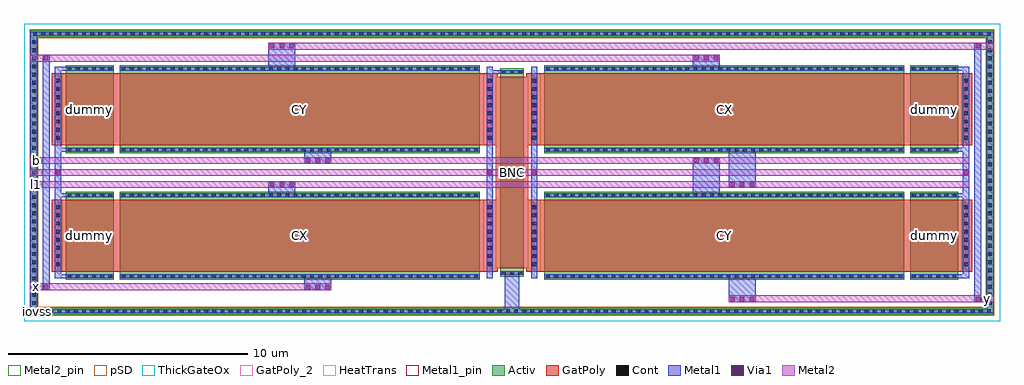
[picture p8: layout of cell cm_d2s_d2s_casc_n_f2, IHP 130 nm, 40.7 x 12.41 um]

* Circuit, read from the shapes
.subckt cm_d2s_d2s_casc_n_f2 b iovss l1 vbnc x y
XM1 vbnc vbnc vbnc iovss sg13_hv_nmos w=2u l=3u m=4
XM2 l1 vbnc x iovss sg13_hv_nmos w=15u l=3u m=2
XM3 y vbnc b iovss sg13_hv_nmos w=15u l=3u m=2
XM4 vbnc vbnc iovss iovss sg13_hv_nmos w=1u l=8u
.ends

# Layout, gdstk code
from math import pi, radians
import gdstk
lib = gdstk.Library(unit=1e-6, precision=1e-09)
def R(c, l, rs):  # rectangles x0, y0, x1, y1
    for r in rs: c.add(gdstk.rectangle(r[:2], r[2:], *l))
def A(c, l, x, y, w, h, nx, ny, dx, dy):  # array of equal rectangles
    R(c, l, [(x+i*dx, y+j*dy, x+i*dx+w, y+j*dy+h) for i in range(nx) for j in range(ny)])
Activ = (1, 0)
GatPoly = (5, 0)
GatPoly_2 = (5, 2)
Cont = (6, 0)
Metal1 = (8, 0)
Metal1_pin = (8, 2)
Metal2 = (10, 0)
Metal2_pin = (10, 2)
pSD = (14, 0)
Via1 = (19, 0)
ThickGateOx = (44, 0)
HeatTrans = (51, 0)

cm_d2s_nmoshv_6 = lib.new_cell('cm_d2s_nmosHV_6')
R(cm_d2s_nmoshv_6, Activ, [(0,0,0.3,0.3), (0,0,8.68,1), (8.38,0,8.68,0.3)])
R(cm_d2s_nmoshv_6, GatPoly, [(0.34,-0.18,8.34,1.18)])
R(cm_d2s_nmoshv_6, GatPoly_2, [(0.34,-0.18,8.34,1.18)])
A(cm_d2s_nmoshv_6, Cont, 0.07, 0.07, 0.16, 0.16, 1, 3, 0, 0.35)
A(cm_d2s_nmoshv_6, Cont, 8.45, 0.07, 0.16, 0.16, 1, 3, 0, 0.35)
R(cm_d2s_nmoshv_6, Metal1, [(0.07,0,0.23,1), (8.45,0,8.61,1)])
R(cm_d2s_nmoshv_6, Metal1_pin, [(0.07,0,0.23,1), (8.45,0,8.61,1)])
R(cm_d2s_nmoshv_6, ThickGateOx, [(-0.27,-0.52,8.95,1.52)])
R(cm_d2s_nmoshv_6, HeatTrans, [(0.34,-0.18,8.34,1.18)])
cm_d2s_nmoshv_6.add(gdstk.Label('nmosHV', (4.34,0.5), layer=63, texttype=0))
cm_d2s_nmoshv_6.add(gdstk.Label('nmosHV', (4.34,0.5), layer=51, texttype=0))

cm_d2s_nmoshv_5 = lib.new_cell('cm_d2s_nmosHV_5')
R(cm_d2s_nmoshv_5, Activ, [(0,0,0.3,0.3), (0,0,3.68,15), (3.38,0,3.68,0.3)])
R(cm_d2s_nmoshv_5, GatPoly, [(0.34,-0.18,3.34,15.18)])
R(cm_d2s_nmoshv_5, GatPoly_2, [(0.34,-0.18,3.34,15.18)])
A(cm_d2s_nmoshv_5, Cont, 0.07, 0.07, 0.16, 0.16, 1, 3, 0, 0.34)
A(cm_d2s_nmoshv_5, Cont, 3.45, 0.07, 0.16, 0.16, 1, 3, 0, 0.34)
A(cm_d2s_nmoshv_5, Cont, 0.07, 1.095, 0.16, 0.16, 1, 3, 0, 0.34)
A(cm_d2s_nmoshv_5, Cont, 3.45, 1.095, 0.16, 0.16, 1, 3, 0, 0.34)
A(cm_d2s_nmoshv_5, Cont, 0.07, 2.12, 0.16, 0.16, 1, 3, 0, 0.34)
A(cm_d2s_nmoshv_5, Cont, 3.45, 2.12, 0.16, 0.16, 1, 3, 0, 0.34)
A(cm_d2s_nmoshv_5, Cont, 0.07, 3.83, 0.16, 0.16, 1, 3, 0, 0.34)
A(cm_d2s_nmoshv_5, Cont, 3.45, 3.83, 0.16, 0.16, 1, 3, 0, 0.34)
A(cm_d2s_nmoshv_5, Cont, 0.07, 4.855, 0.16, 0.16, 1, 3, 0, 0.34)
A(cm_d2s_nmoshv_5, Cont, 3.45, 4.855, 0.16, 0.16, 1, 3, 0, 0.34)
A(cm_d2s_nmoshv_5, Cont, 0.07, 6.565, 0.16, 0.16, 1, 3, 0, 0.34)
A(cm_d2s_nmoshv_5, Cont, 3.45, 6.565, 0.16, 0.16, 1, 3, 0, 0.34)
A(cm_d2s_nmoshv_5, Cont, 0.07, 7.59, 0.16, 0.16, 1, 3, 0, 0.34)
A(cm_d2s_nmoshv_5, Cont, 3.45, 7.59, 0.16, 0.16, 1, 3, 0, 0.34)
A(cm_d2s_nmoshv_5, Cont, 0.07, 9.3, 0.16, 0.16, 1, 3, 0, 0.34)
A(cm_d2s_nmoshv_5, Cont, 3.45, 9.3, 0.16, 0.16, 1, 3, 0, 0.34)
A(cm_d2s_nmoshv_5, Cont, 0.07, 10.325, 0.16, 0.16, 1, 3, 0, 0.34)
A(cm_d2s_nmoshv_5, Cont, 3.45, 10.325, 0.16, 0.16, 1, 3, 0, 0.34)
A(cm_d2s_nmoshv_5, Cont, 0.07, 12.035, 0.16, 0.16, 1, 3, 0, 0.34)
A(cm_d2s_nmoshv_5, Cont, 3.45, 12.035, 0.16, 0.16, 1, 3, 0, 0.34)
A(cm_d2s_nmoshv_5, Cont, 0.07, 13.06, 0.16, 0.16, 1, 3, 0, 0.34)
A(cm_d2s_nmoshv_5, Cont, 3.45, 13.06, 0.16, 0.16, 1, 3, 0, 0.34)
R(cm_d2s_nmoshv_5, Cont, [(0.07,3.145,0.23,3.305), (3.45,3.145,3.61,3.305), (0.07,3.485,0.23,3.645), (3.45,3.485,3.61,3.645), (0.07,5.88,0.23,6.04), (3.45,5.88,3.61,6.04), (0.07,6.22,0.23,6.38), (3.45,6.22,3.61,6.38), (0.07,8.615,0.23,8.775), (3.45,8.615,3.61,8.775), (0.07,8.955,0.23,9.115), (3.45,8.955,3.61,9.115), (0.07,11.35,0.23,11.51), (3.45,11.35,3.61,11.51), (0.07,11.69,0.23,11.85), (3.45,11.69,3.61,11.85), (0.07,14.085,0.23,14.245), (3.45,14.085,3.61,14.245), (0.07,14.425,0.23,14.585), (3.45,14.425,3.61,14.585), (0.07,14.77,0.23,14.93), (3.45,14.77,3.61,14.93)])
R(cm_d2s_nmoshv_5, Metal1, [(0.07,0,0.23,15), (3.45,0,3.61,15)])
R(cm_d2s_nmoshv_5, Metal1_pin, [(0.07,0,0.23,15), (3.45,0,3.61,15)])
R(cm_d2s_nmoshv_5, ThickGateOx, [(-0.27,-0.52,3.95,15.52)])
R(cm_d2s_nmoshv_5, HeatTrans, [(0.34,-0.18,3.34,15.18)])
cm_d2s_nmoshv_5.add(gdstk.Label('nmosHV', (1.84,7.5), layer=63, texttype=0))
cm_d2s_nmoshv_5.add(gdstk.Label('nmosHV', (1.84,7.5), layer=51, texttype=0))

cm_d2s_nmoshv_4 = lib.new_cell('cm_d2s_nmosHV_4')
R(cm_d2s_nmoshv_4, Activ, [(0,0,0.3,0.3), (0,0,3.68,2), (3.38,0,3.68,0.3)])
R(cm_d2s_nmoshv_4, GatPoly, [(0.34,-0.18,3.34,2.18)])
R(cm_d2s_nmoshv_4, GatPoly_2, [(0.34,-0.18,3.34,2.18)])
A(cm_d2s_nmoshv_4, Cont, 0.07, 0.07, 0.16, 0.16, 1, 6, 0, 0.34)
A(cm_d2s_nmoshv_4, Cont, 3.45, 0.07, 0.16, 0.16, 1, 6, 0, 0.34)
R(cm_d2s_nmoshv_4, Metal1, [(0.07,0,0.23,2), (3.45,0,3.61,2)])
R(cm_d2s_nmoshv_4, Metal1_pin, [(0.07,0,0.23,2), (3.45,0,3.61,2)])
R(cm_d2s_nmoshv_4, ThickGateOx, [(-0.27,-0.52,3.95,2.52)])
R(cm_d2s_nmoshv_4, HeatTrans, [(0.34,-0.18,3.34,2.18)])
cm_d2s_nmoshv_4.add(gdstk.Label('nmosHV', (1.84,1), layer=63, texttype=0))
cm_d2s_nmoshv_4.add(gdstk.Label('nmosHV', (1.84,1), layer=51, texttype=0))

cm_d2s_d2s_casc_n_f2 = lib.new_cell('cm_d2s_d2s_casc_n_f2')
R(cm_d2s_d2s_casc_n_f2, Activ, [(-1.48,-1.46,38.68,-1.16), (-1.48,-1.16,-1.18,10.11), (38.38,-1.16,38.68,10.11), (-1.48,10.11,38.68,10.41)])
R(cm_d2s_d2s_casc_n_f2, GatPoly, [(-0.6,0.34,-0.1,3.34), (17.35,0.34,18,3.34), (19.2,0.34,19.85,3.34), (37.3,0.34,37.8,3.34), (-0.6,5.61,-0.1,8.61), (17.35,5.61,18,8.61), (19.2,5.61,19.85,8.61), (37.3,5.61,37.8,8.61)])
A(cm_d2s_d2s_casc_n_f2, Cont, -1.37, -1.39, 0.16, 0.16, 118, 2, 0.34, 11.57)
A(cm_d2s_d2s_casc_n_f2, Cont, -1.41, -1.045, 0.16, 0.16, 1, 33, 0, 0.34)
A(cm_d2s_d2s_casc_n_f2, Cont, 38.45, -1.045, 0.16, 0.16, 1, 33, 0, 0.34)
A(cm_d2s_d2s_casc_n_f2, Cont, -0.41, 0.57, 0.16, 0.16, 1, 8, 0, 0.34)
A(cm_d2s_d2s_casc_n_f2, Cont, 17.595, 0.57, 0.16, 0.16, 1, 8, 0, 0.34)
A(cm_d2s_d2s_casc_n_f2, Cont, 19.445, 0.57, 0.16, 0.16, 1, 8, 0, 0.34)
A(cm_d2s_d2s_casc_n_f2, Cont, 37.45, 0.57, 0.16, 0.16, 1, 8, 0, 0.34)
A(cm_d2s_d2s_casc_n_f2, Cont, -0.41, 5.84, 0.16, 0.16, 1, 8, 0, 0.34)
A(cm_d2s_d2s_casc_n_f2, Cont, 17.595, 5.84, 0.16, 0.16, 1, 8, 0, 0.34)
A(cm_d2s_d2s_casc_n_f2, Cont, 19.445, 5.84, 0.16, 0.16, 1, 8, 0, 0.34)
A(cm_d2s_d2s_casc_n_f2, Cont, 37.45, 5.84, 0.16, 0.16, 1, 8, 0, 0.34)
R(cm_d2s_d2s_casc_n_f2, Metal1, [(-1.48,-1.39,-1.19,10.34), (-1.42,-1.39,38.62,-1.23), (18.3,-1.39,18.9,0.365), (38.39,-1.39,38.68,10.34), (-1.41,-1.095,-1.25,10.045), (38.45,-1.095,38.61,10.045), (27.645,-0.94,28.755,0.23), (37.88,-0.94,38.17,9.89), (-0.97,-0.44,-0.68,9.39), (9.945,-0.44,11.055,0.23), (-0.46,0.07,-0.2,8.88), (-0.33,0.07,0.1,0.23), (17.545,0.07,17.805,8.88), (19.395,0.07,19.655,8.88), (37.1,0.07,37.53,0.23), (37.4,0.07,37.66,8.88), (-0.33,3.45,0.1,3.61), (8.445,3.45,9.555,4.12), (26.145,3.45,27.255,5.12), (37.1,3.45,37.53,3.61), (27.645,3.83,28.755,5.5), (9.945,4.83,11.055,5.5), (-0.33,5.34,0.1,5.5), (37.1,5.34,37.53,5.5), (17.675,8.585,18.2,8.745), (-0.33,8.72,0.1,8.88), (8.445,8.72,9.555,9.89), (26.145,8.72,27.255,9.39), (37.1,8.72,37.53,8.88), (-1.42,10.18,38.62,10.34)])
R(cm_d2s_d2s_casc_n_f2, Metal1_pin, [(-1.42,-1.39,-0.92,-1.23)])
A(cm_d2s_d2s_casc_n_f2, Metal2, -1.48, 3.83, 39.155, 0.29, 1, 3, 0, 0.5)
R(cm_d2s_d2s_casc_n_f2, Metal2, [(27.645,-0.94,38.68,-0.65), (-1.48,-0.44,11.055,-0.15), (-1.48,9.1,27.255,9.39), (8.445,9.6,38.68,9.89)])
A(cm_d2s_d2s_casc_n_f2, Metal2_pin, -1.48, 3.83, 0.5, 0.29, 1, 3, 0, 0.5)
R(cm_d2s_d2s_casc_n_f2, Metal2_pin, [(38.18,-0.94,38.68,-0.65), (-1.48,-0.44,-0.98,-0.15)])
R(cm_d2s_d2s_casc_n_f2, pSD, [(-1.51,-1.49,38.71,-1.13), (-1.51,-1.19,-1.15,10.14), (38.35,-1.19,38.71,10.14), (-1.51,10.08,38.71,10.44)])
A(cm_d2s_d2s_casc_n_f2, Via1, 27.695, -0.89, 0.19, 0.19, 3, 2, 0.41, 4.77)
A(cm_d2s_d2s_casc_n_f2, Via1, 9.995, -0.39, 0.19, 0.19, 3, 2, 0.41, 5.27)
A(cm_d2s_d2s_casc_n_f2, Via1, 8.495, 3.88, 0.19, 0.19, 3, 2, 0.41, 5.77)
A(cm_d2s_d2s_casc_n_f2, Via1, 26.195, 4.88, 0.19, 0.19, 3, 2, 0.41, 4.27)
R(cm_d2s_d2s_casc_n_f2, Via1, [(37.93,-0.89,38.12,-0.7), (-0.92,-0.39,-0.73,-0.2), (-0.425,4.38,-0.235,4.57), (17.58,4.38,17.77,4.57), (19.43,4.38,19.62,4.57), (37.435,4.38,37.625,4.57), (-0.92,9.15,-0.73,9.34), (37.93,9.65,38.12,9.84)])
R(cm_d2s_d2s_casc_n_f2, ThickGateOx, [(-1.75,-1.73,38.95,10.68)])
cm_d2s_d2s_casc_n_f2.add(gdstk.Reference(cm_d2s_nmoshv_6, (18.1,8.815), rotation=3*pi/2))
cm_d2s_d2s_casc_n_f2.add(gdstk.Reference(cm_d2s_nmoshv_5, (2.25,3.68), rotation=3*pi/2))
cm_d2s_d2s_casc_n_f2.add(gdstk.Reference(cm_d2s_nmoshv_5, (2.25,8.95), rotation=3*pi/2))
cm_d2s_d2s_casc_n_f2.add(gdstk.Reference(cm_d2s_nmoshv_5, (34.95,3.68), rotation=3*pi/2, x_reflection=True))
cm_d2s_d2s_casc_n_f2.add(gdstk.Reference(cm_d2s_nmoshv_5, (34.95,8.95), rotation=3*pi/2, x_reflection=True))
cm_d2s_d2s_casc_n_f2.add(gdstk.Reference(cm_d2s_nmoshv_4, (0,3.68), rotation=3*pi/2))
cm_d2s_d2s_casc_n_f2.add(gdstk.Reference(cm_d2s_nmoshv_4, (0,8.95), rotation=3*pi/2))
cm_d2s_d2s_casc_n_f2.add(gdstk.Reference(cm_d2s_nmoshv_4, (37.2,3.68), rotation=3*pi/2, x_reflection=True))
cm_d2s_d2s_casc_n_f2.add(gdstk.Reference(cm_d2s_nmoshv_4, (37.2,8.95), rotation=3*pi/2, x_reflection=True))
cm_d2s_d2s_casc_n_f2.add(gdstk.Label('dummy', (1,1.84), layer=63, texttype=0))
cm_d2s_d2s_casc_n_f2.add(gdstk.Label('CX', (9.75,1.84), layer=63, texttype=0))
cm_d2s_d2s_casc_n_f2.add(gdstk.Label('CY', (27.45,1.84), layer=63, texttype=0))
cm_d2s_d2s_casc_n_f2.add(gdstk.Label('dummy', (36.2,1.84), layer=63, texttype=0))
cm_d2s_d2s_casc_n_f2.add(gdstk.Label('dummy', (1,7.11), layer=63, texttype=0))
cm_d2s_d2s_casc_n_f2.add(gdstk.Label('CY', (9.75,7.11), layer=63, texttype=0))
cm_d2s_d2s_casc_n_f2.add(gdstk.Label('CX', (27.45,7.11), layer=63, texttype=0))
cm_d2s_d2s_casc_n_f2.add(gdstk.Label('dummy', (36.2,7.11), layer=63, texttype=0))
cm_d2s_d2s_casc_n_f2.add(gdstk.Label('BNC', (18.6,4.475), layer=63, texttype=0))
cm_d2s_d2s_casc_n_f2.add(gdstk.Label('x', (-1.23,-0.295), layer=10, texttype=25))
cm_d2s_d2s_casc_n_f2.add(gdstk.Label('y', (38.43,-0.795), layer=10, texttype=25))
cm_d2s_d2s_casc_n_f2.add(gdstk.Label('l1', (-1.23,3.975), layer=10, texttype=25))
cm_d2s_d2s_casc_n_f2.add(gdstk.Label('vbnc', (-1.23,4.475), layer=10, texttype=25))
cm_d2s_d2s_casc_n_f2.add(gdstk.Label('b', (-1.23,4.975), layer=10, texttype=25))
cm_d2s_d2s_casc_n_f2.add(gdstk.Label('iovss', (-1.17,-1.31), layer=8, texttype=25))

lib.write_gds('cm_d2s_d2s_casc_n_f2.gds')
